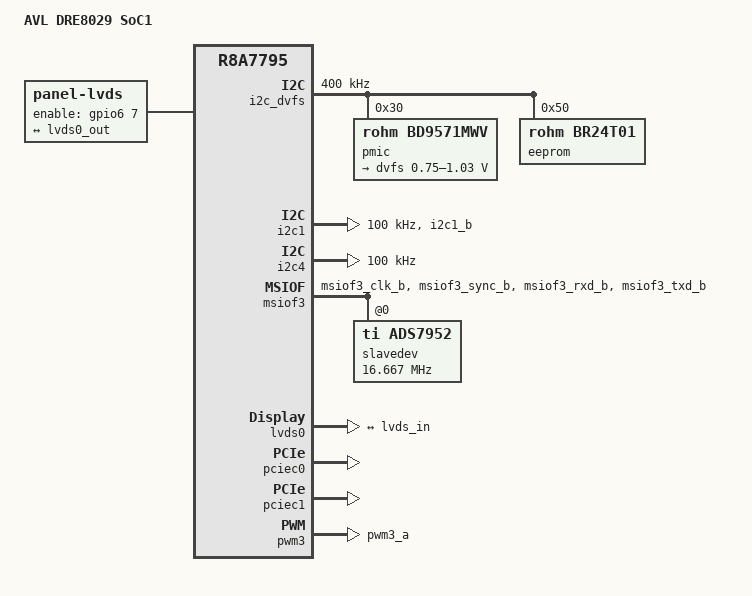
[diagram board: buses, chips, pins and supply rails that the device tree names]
/*
 * Device Tree Source for the Salvator-X.View board
 *
 * Copyright (C) 2016-2019 Renesas Electronics Corp.
 *
 * This file is licensed under the terms of the GNU General Public License
 * version 2.  This program is licensed "as is" without any warranty of any
 * kind, whether express or implied.
 */

/dts-v1/;

#include "common-AVL-DRE8029.dtsi"

/ {
	model = "AVL DRE8029 SoC1";
	compatible = "avl,dre8029", "renesas,r8a7795";

	lvds {
		compatible = "panel-lvds";

		width-mm = <210>;
		height-mm = <158>;

		data-mapping = "jeida-24";
		enable-gpios = <&gpio6 7 GPIO_ACTIVE_HIGH>;

		panel-timing {
			/* 1024x768 @60Hz */
			clock-frequency = <65000000>;
			hactive = <1024>;
			vactive = <768>;
			hsync-len = <136>;
			hfront-porch = <20>;
			hback-porch = <160>;
			vfront-porch = <3>;
			vback-porch = <29>;
			vsync-len = <6>;
		};

		port {
			lvds_in: endpoint {
				remote-endpoint = <&lvds0_out>;
			};
		};
	};

    /* External DU dot clocks */
	x21_clk: x21-clock {
		compatible = "fixed-clock";
		#clock-cells = <0>;
		clock-frequency = <50000000>;
	};
};

&pfc {
	i2c1_pins: i2c1 {
		groups = "i2c1_b";
		function = "i2c1";
	};

	irq0_pins: irq0 {
		groups = "intc_ex_irq0";
		function = "intc_ex";
	};

	msiof0_pins: spi0 {
        groups = "msiof0_clk", "msiof0_sync",
        "msiof0_rxd", "msiof0_txd";
        function = "msiof0";
    };
	
    msiof1_pins: spi1 {
        groups = "msiof1_clk_a", "msiof1_sync_a",
        "msiof1_rxd_a", "msiof1_txd_a";
        function = "msiof1";
    };

    msiof3_pins: spi3 {
        groups = "msiof3_clk_b", "msiof3_sync_b",
        "msiof3_rxd_b", "msiof3_txd_b";
        function = "msiof3";
    };

	pwm3_pins: pwm3 {
		groups = "pwm3_a";
		function = "pwm3";
	};
};

&i2c_dvfs {
	status = "okay";

	clock-frequency = <400000>;

	pmic: pmic@30 {
		pinctrl-0 = <&irq0_pins>;
		pinctrl-names = "default";

		compatible = "rohm,bd9571mwv";
		reg = <0x30>;
		interrupt-parent = <&intc_ex>;
		interrupts = <0 IRQ_TYPE_LEVEL_LOW>;
		interrupt-controller;
		#interrupt-cells = <2>;
		gpio-controller;
		#gpio-cells = <2>;
		rohm,ddr-backup-power = <0xf>;
		rohm,rstbmode-level;

		regulators {
			dvfs: dvfs {
				regulator-name = "dvfs";
				regulator-min-microvolt = <750000>;
				regulator-max-microvolt = <1030000>;
				regulator-boot-on;
				regulator-always-on;
			};
		};
	};

	eeprom@50 {
		compatible = "rohm,br24t01", "atmel,24c01";
		reg = <0x50>;
		pagesize = <8>;
	};
};

&i2c1 {
	pinctrl-0 = <&i2c1_pins>;
	pinctrl-names = "default";

	status = "okay";

	clock-frequency = <100000>;
	
};

&i2c4 {
	status = "okay";

	clock-frequency = <100000>;
	
};

/* module clock */
&msiof_ref_clk {
    clock-frequency = <133333333>;
};

&msiof0 {
    pinctrl-0 = <&msiof0_pins>;
    pinctrl-names = "default";

    /* status = "okay"; */
	
    /* Add a subnode. */
};

&msiof1 {
    pinctrl-0 = <&msiof1_pins>;
    pinctrl-names = "default";

    /* status = "okay"; */

    /* Add a subnode. */
};

&msiof3 {
    pinctrl-0 = <&msiof3_pins>;
    pinctrl-names = "default";

    status = "okay";

	slavedev {
        compatible = "ti,ads7952";
		reg = <0>;
		spi-max-frequency = <16666666>;
		spi-cpha;
		spi-cpol;
    };
};

&lvds0 {
    status = "okay";
	ports {
		port@1 {
			lvds0_out: endpoint {
				remote-endpoint = <&lvds_in>;
			};
		};
	};
};

&du {
	clocks = <&cpg CPG_MOD 724>, <&x21_clk>;
	clock-names = "du.0", "dclkin.0";
};

&pcie_bus_clk {
	clock-frequency = <100000000>;
};

&pciec0 {
	status = "okay";
};

&pciec1 {
	status = "okay";
};

&pwm3 {
	pinctrl-0 = <&pwm3_pins>;
	pinctrl-names = "default";

	status = "okay";
};
